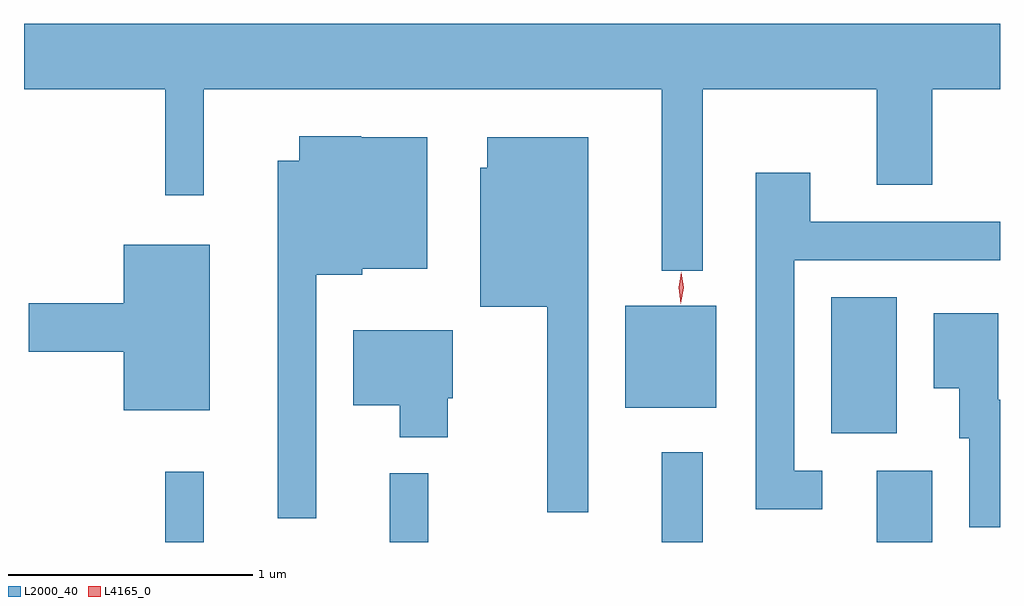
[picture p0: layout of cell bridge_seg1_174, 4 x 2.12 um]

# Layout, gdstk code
import gdstk
lib = gdstk.Library(unit=1e-6, precision=1e-09)
def R(c, l, rs):  # rectangles x0, y0, x1, y1
    for r in rs: c.add(gdstk.rectangle(r[:2], r[2:], *l))
def P(c, l, *ps):  # polygons
    for p in ps: c.add(gdstk.Polygon(p, *l))
L2000_40 = (2000, 40)
L4165_0 = (4165, 0)

bridge_seg1_174 = lib.new_cell('bridge_seg1_174')
R(bridge_seg1_174, L2000_40, [(628.006,957.661,628.164,957.948), (628.926,957.661,629.084,957.943), (630.041,957.661,630.209,958.028), (630.921,957.661,631.149,957.954), (630.736,958.106,631.004,958.664), (629.891,958.211,630.264,958.629)])
P(bridge_seg1_174, L2000_40, [(630.209,959.516),(630.921,959.516),(630.921,959.126),(631.149,959.126),(631.149,959.516),(631.427,959.516),(631.427,959.784),(627.427,959.784),(627.427,959.516),(628.006,959.516),(628.006,959.083),(628.164,959.083),(628.164,959.516),(630.041,959.516),(630.041,958.773),(630.209,958.773)],
  [(628.624,958.756),(628.814,958.756),(628.814,958.781),(629.079,958.781),(629.079,959.319),(628.81,959.319),(628.81,959.324),(628.556,959.324),(628.556,959.224),(628.466,959.224),(628.466,957.758),(628.624,957.758)],
  [(629.739,959.319),(629.326,959.319),(629.326,959.194),(629.296,959.194),(629.296,958.626),(629.571,958.626),(629.571,957.783),(629.739,957.783)],
  [(630.698,957.954),(630.584,957.954),(630.584,958.816),(631.427,958.816),(631.427,958.974),(630.649,958.974),(630.649,959.174),(630.426,959.174),(630.426,957.796),(630.698,957.796)],
  [(628.189,958.879),(627.836,958.879),(627.836,958.639),(627.446,958.639),(627.446,958.441),(627.836,958.441),(627.836,958.201),(628.189,958.201)],
  [(631.427,958.244),(631.419,958.244),(631.419,958.599),(631.156,958.599),(631.156,958.291),(631.261,958.291),(631.261,958.086),(631.301,958.086),(631.301,957.721),(631.427,957.721)],
  [(629.164,958.251),(629.184,958.251),(629.184,958.529),(628.776,958.529),(628.776,958.221),(628.966,958.221),(628.966,958.091),(629.164,958.091)])
P(bridge_seg1_174, L4165_0, [(630.119,958.638),(630.118,958.639),(630.11,958.703),(630.12,958.767),(630.121,958.767),(630.121,958.767),(630.13,958.703),(630.119,958.639)])

lib.write_gds('bridge_seg1_174.gds')
